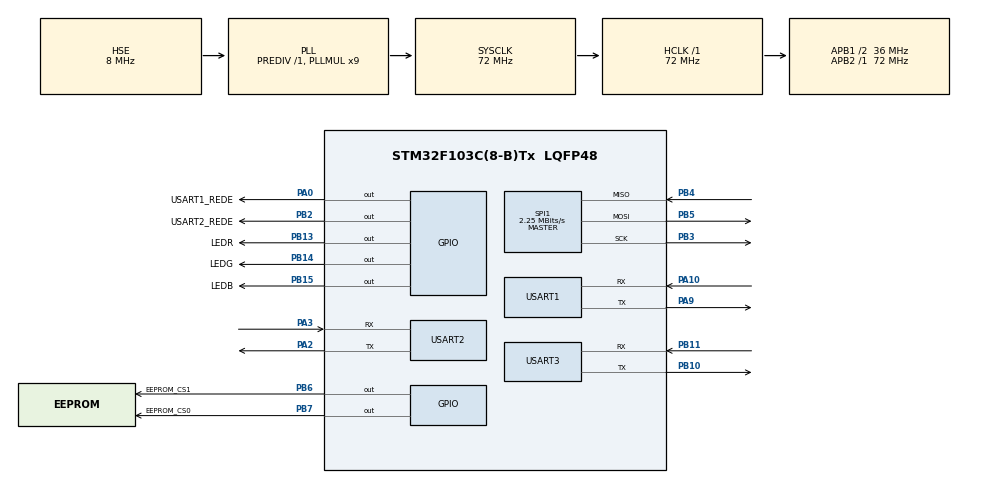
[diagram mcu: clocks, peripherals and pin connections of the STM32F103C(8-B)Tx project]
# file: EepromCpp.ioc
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Mcu.Family=STM32F1
Mcu.Name=STM32F103C(8-B)Tx
Mcu.Package=LQFP48
NVIC.FLASH_IRQn=true\:0\:0\:false\:false\:true\:true
NVIC.PVD_IRQn=true\:0\:0\:false\:false\:true\:true
NVIC.PriorityGroup=NVIC_PRIORITYGROUP_4
NVIC.RCC_IRQn=true\:0\:0\:false\:false\:true\:true
NVIC.SPI1_IRQn=true\:0\:0\:false\:true\:true\:16\:true
NVIC.TIM1_CC_IRQn=true\:0\:0\:false\:true\:true\:9\:true
NVIC.TIM1_UP_IRQn=true\:0\:0\:false\:true\:true\:11\:true
NVIC.TIM2_IRQn=true\:0\:0\:false\:true\:true\:8\:true
NVIC.TIM3_IRQn=true\:0\:0\:false\:true\:true\:7\:true
NVIC.TIM4_IRQn=true\:0\:0\:false\:true\:true\:6\:true
NVIC.USART1_IRQn=true\:0\:0\:false\:true\:true\:3\:true
NVIC.USART2_IRQn=true\:0\:0\:false\:true\:true\:2\:true
NVIC.USART3_IRQn=true\:0\:0\:false\:true\:true\:1\:true
PA0-WKUP.GPIO_Label=USART1_REDE
PA0-WKUP.Signal=GPIO_Output
PA10.Mode=Asynchronous
PA10.Signal=USART1_RX
PA13.Mode=Serial_Wire
PA13.Signal=SYS_JTMS-SWDIO
PA14.Mode=Serial_Wire
PA14.Signal=SYS_JTCK-SWCLK
PA2.Mode=Asynchronous
PA2.Signal=USART2_TX
PA3.Mode=Asynchronous
PA3.Signal=USART2_RX
PA9.Mode=Asynchronous
PA9.Signal=USART1_TX
PB10.Mode=Asynchronous
PB10.Signal=USART3_TX
PB11.Mode=Asynchronous
PB11.Signal=USART3_RX
PB13.GPIO_Label=LEDR
PB13.Signal=GPIO_Output
PB14.GPIO_Label=LEDG
PB14.Signal=GPIO_Output
PB15.GPIO_Label=LEDB
PB15.Signal=GPIO_Output
PB2.GPIO_Label=USART2_REDE
PB2.Signal=GPIO_Output
PB3.Mode=Full_Duplex_Master
PB3.Signal=SPI1_SCK
PB4.Mode=Full_Duplex_Master
PB4.Signal=SPI1_MISO
PB5.Mode=Full_Duplex_Master
PB5.Signal=SPI1_MOSI
PB6.GPIO_Label=EEPROM_CS1
PB6.Signal=GPIO_Output
PB7.GPIO_Label=EEPROM_CS0
PB7.Signal=GPIO_Output
PC14-OSC32_IN.Signal=RCC_OSC32_IN
PC15-OSC32_OUT.Signal=RCC_OSC32_OUT
PD0-OSC_IN.Mode=HSE-External-Oscillator
PD0-OSC_IN.Signal=RCC_OSC_IN
PD1-OSC_OUT.Mode=HSE-External-Oscillator
PD1-OSC_OUT.Signal=RCC_OSC_OUT
ProjectManager.HeapSize=0x200
ProjectManager.StackSize=0x400
ProjectManager.TargetToolchain=MDK-ARM V5
RCC.ADCPresc=RCC_ADCPCLK2_DIV6
RCC.AHBFreq_Value=72000000
RCC.APB1CLKDivider=RCC_HCLK_DIV2
RCC.APB1Freq_Value=36000000
RCC.APB1TimFreq_Value=72000000
RCC.APB2Freq_Value=72000000
RCC.APB2TimFreq_Value=72000000
RCC.HCLKFreq_Value=72000000
RCC.PLLMUL=RCC_PLL_MUL9
RCC.PLLSourceVirtual=RCC_PLLSOURCE_HSE
RCC.SYSCLKFreq_VALUE=72000000
RCC.SYSCLKSource=RCC_SYSCLKSOURCE_PLLCLK
RCC.USBFreq_Value=72000000
SPI1.BaudRatePrescaler=SPI_BAUDRATEPRESCALER_32
SPI1.CLKPhase=SPI_PHASE_2EDGE
SPI1.CLKPolarity=SPI_POLARITY_HIGH
SPI1.CalculateBaudRate=2.25 MBits/s
SPI1.Direction=SPI_DIRECTION_2LINES
SPI1.Mode=SPI_MODE_MASTER
SPI1.VirtualType=VM_MASTER
USART1.VirtualMode=VM_ASYNC
USART2.VirtualMode=VM_ASYNC
USART3.VirtualMode=VM_ASYNC
VP_TIM1_VS_ClockSourceINT.Mode=Internal
VP_TIM2_VS_ClockSourceINT.Mode=Internal
VP_TIM3_VS_ClockSourceINT.Mode=Internal
VP_TIM4_VS_ClockSourceINT.Mode=Internal
board=custom

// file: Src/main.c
/**
  ******************************************************************************
  * @file           : main.c
  * @brief          : Main program body
  ******************************************************************************
  ** This notice applies to any and all portions of this file
  * that are not between comment pairs USER CODE BEGIN and
  * USER CODE END. Other portions of this file, whether
  * inserted by the user or by software development tools
  * are owned by their respective copyright owners.
  *
  * COPYRIGHT(c) 2018 STMicroelectronics
  *
  * Redistribution and use in source and binary forms, with or without modification,
  * are permitted provided that the following conditions are met:
  *   1. Redistributions of source code must retain the above copyright notice,
  *      this list of conditions and the following disclaimer.
  *   2. Redistributions in binary form must reproduce the above copyright notice,
  *      this list of conditions and the following disclaimer in the documentation
  *      and/or other materials provided with the distribution.
  *   3. Neither the name of STMicroelectronics nor the names of its contributors
  *      may be used to endorse or promote products derived from this software
  *      without specific prior written permission.
  *
  * THIS SOFTWARE IS PROVIDED BY THE COPYRIGHT HOLDERS AND CONTRIBUTORS "AS IS"
  * AND ANY EXPRESS OR IMPLIED WARRANTIES, INCLUDING, BUT NOT LIMITED TO, THE
  * IMPLIED WARRANTIES OF MERCHANTABILITY AND FITNESS FOR A PARTICULAR PURPOSE ARE
  * DISCLAIMED. IN NO EVENT SHALL THE COPYRIGHT HOLDER OR CONTRIBUTORS BE LIABLE
  * FOR ANY DIRECT, INDIRECT, INCIDENTAL, SPECIAL, EXEMPLARY, OR CONSEQUENTIAL
  * DAMAGES (INCLUDING, BUT NOT LIMITED TO, PROCUREMENT OF SUBSTITUTE GOODS OR
  * SERVICES; LOSS OF USE, DATA, OR PROFITS; OR BUSINESS INTERRUPTION) HOWEVER
  * CAUSED AND ON ANY THEORY OF LIABILITY, WHETHER IN CONTRACT, STRICT LIABILITY,
  * OR TORT (INCLUDING NEGLIGENCE OR OTHERWISE) ARISING IN ANY WAY OUT OF THE USE
  * OF THIS SOFTWARE, EVEN IF ADVISED OF THE POSSIBILITY OF SUCH DAMAGE.
  *
  ******************************************************************************
  */
#include "main.h"
#include "stm32f1xx_hal.h"
#include "spi.h"
#include "tim.h"
#include "usart.h"
#include "gpio.h"

/* USER CODE BEGIN Includes */
#include "25LC512.h"
#include <stdlib.h>
#include <stdio.h>
#include <string>

/* USER CODE END Includes */

/* USER CODE BEGIN PV */
/* Private variables ---------------------------------------------------------*/

/* USER CODE END PV */

void SystemClock_Config(void);
static void MX_NVIC_Init(void);

/* USER CODE BEGIN PFP */
/* Private function prototypes -----------------------------------------------*/

/* USER CODE END PFP */

/* USER CODE BEGIN 0 */
	#define UNSIGNED_CHAR_FIRST_EEPROM_DATA_ADDRESS 0x0001
	#define UNSIGNED_CHAR_SECOND_EEPROM_DATA_ADDRESS 0x0100
	#define UNSIGNED_INT_FIRST_EEPROM_DATA_ADDRESS 0x00C9
	#define UNSIGNED_INT_SECOND_EEPROM_DATA_ADDRESS 0x10C9
	#define UNSIGNED_SHORT_FIRST_EEPROM_DATA_ADDRESS 0x0400
	#define UNSIGNED_SHORT_SECOND_EEPROM_DATA_ADDRESS 0x0500
	unsigned char glb_ucDataFromFirstEEProm[200];
	unsigned char glb_ucDataToFirstEEProm[200];
	unsigned char glb_ucDataFromSecondEEProm[200];
	unsigned char glb_ucDataToSecondEEProm[200];

	unsigned int glb_uiDataFromFirstEEProm[10];
	unsigned int glb_uiDataToFirstEEProm[10]={0x112345,0x212345,0x312345,0x412345,0x512345,0x612345,0x712345,0x812345,0x912345};
	unsigned int glb_uiDataFromSecondEEProm[10];
	unsigned int glb_uiDataToSecondEEProm[10]={0x123459,0x123458,0x123457,0x123456,0x123455,0x123454,0x123453,0x123452,0x123451};

	unsigned short glb_usDataFromFirstEEProm[10];
	unsigned short glb_usDataToFirstEEProm[10]={0x1123,0x2123,0x3123,0x4123,0x5123,0x6123,0x7123,0x8123,0x9123};
	unsigned short glb_usDataFromSecondEEProm[10];
	unsigned short glb_usDataToSecondEEProm[10]={0x3459,0x3458,0x3457,0x3456,0x3455,0x3454,0x3453,0x3452,0x3451};

/* USER CODE END 0 */

int main(void)
{

  /* MCU Configuration----------------------------------------------------------*/

  /* Reset of all peripherals, Initializes the Flash interface and the Systick. */
  HAL_Init();

  /* Configure the system clock */
  SystemClock_Config();

  /* Initialize all configured peripherals */
  MX_GPIO_Init();
  MX_USART3_UART_Init();
  MX_USART1_UART_Init();
  MX_USART2_UART_Init();
  MX_SPI1_Init();
  MX_TIM4_Init();
  MX_TIM3_Init();
  MX_TIM1_Init();
  MX_TIM2_Init();

  /* Initialize interrupts */
  MX_NVIC_Init();
  /* USER CODE BEGIN 2 */
	using namespace std;
	/// create eeprom objects
	EEPROM Eprom1(&hspi1,EEPROM_CS0_GPIO_Port,EEPROM_CS0_Pin);
	EEPROM Eprom2(&hspi1,EEPROM_CS1_GPIO_Port,EEPROM_CS1_Pin);

	Eprom1.MC25LC512_Initilize();// init eeprom
	Eprom2.MC25LC512_Initilize();// int eeprom2
	HAL_Delay(150);

	memcpy(glb_ucDataToFirstEEProm,(char*)"Cagri CANDAN 11/18/2018 First EEProm TEST",62);
	Eprom1.MC25LC512_Write((unsigned short)UNSIGNED_CHAR_FIRST_EEPROM_DATA_ADDRESS,glb_ucDataToFirstEEProm,62);
	Eprom1.MC25LC512_Read((unsigned short)UNSIGNED_CHAR_FIRST_EEPROM_DATA_ADDRESS,glb_ucDataFromFirstEEProm,62);

	Eprom1.MC25LC512_Write((unsigned short)UNSIGNED_INT_FIRST_EEPROM_DATA_ADDRESS,glb_uiDataToFirstEEProm,10);
	Eprom1.MC25LC512_Read((unsigned short)UNSIGNED_INT_FIRST_EEPROM_DATA_ADDRESS,glb_uiDataFromFirstEEProm,10);

	memcpy(glb_ucDataToSecondEEProm,(char*)"Cagri CANDAN 11/18/2018 Second EEProm TEST",63);
	Eprom2.MC25LC512_Write((unsigned short)UNSIGNED_CHAR_SECOND_EEPROM_DATA_ADDRESS,glb_ucDataToSecondEEProm,63);
	Eprom2.MC25LC512_Read((unsigned short)UNSIGNED_CHAR_SECOND_EEPROM_DATA_ADDRESS,glb_ucDataFromSecondEEProm,65);

	Eprom1.MC25LC512_Write((unsigned short)UNSIGNED_INT_FIRST_EEPROM_DATA_ADDRESS,glb_uiDataToFirstEEProm,10);
	Eprom1.MC25LC512_Read((unsigned short)UNSIGNED_INT_FIRST_EEPROM_DATA_ADDRESS,glb_uiDataFromFirstEEProm,10);

	Eprom2.MC25LC512_Write((unsigned short)UNSIGNED_INT_FIRST_EEPROM_DATA_ADDRESS,glb_uiDataToSecondEEProm,10);
	Eprom2.MC25LC512_Read((unsigned short)UNSIGNED_INT_FIRST_EEPROM_DATA_ADDRESS,glb_uiDataFromSecondEEProm,10);

	Eprom2.MC25LC512_Write((unsigned short)UNSIGNED_INT_FIRST_EEPROM_DATA_ADDRESS,glb_usDataToSecondEEProm,10);
	Eprom2.MC25LC512_Read((unsigned short)UNSIGNED_INT_FIRST_EEPROM_DATA_ADDRESS,glb_usDataFromSecondEEProm,10);

  /* USER CODE END 2 */

  /* Infinite loop */
  while (1)
  {

  }

}

void SystemClock_Config(void)
{

  RCC_OscInitTypeDef RCC_OscInitStruct;
  RCC_ClkInitTypeDef RCC_ClkInitStruct;

    /**Initializes the CPU, AHB and APB busses clocks
    */
  RCC_OscInitStruct.OscillatorType = RCC_OSCILLATORTYPE_HSE;
  RCC_OscInitStruct.HSEState = RCC_HSE_ON;
  RCC_OscInitStruct.HSEPredivValue = RCC_HSE_PREDIV_DIV1;
  RCC_OscInitStruct.HSIState = RCC_HSI_ON;
  RCC_OscInitStruct.PLL.PLLState = RCC_PLL_ON;
  RCC_OscInitStruct.PLL.PLLSource = RCC_PLLSOURCE_HSE;
  RCC_OscInitStruct.PLL.PLLMUL = RCC_PLL_MUL9;
  if (HAL_RCC_OscConfig(&RCC_OscInitStruct) != HAL_OK)
  {
    _Error_Handler(__FILE__, __LINE__);
  }

    /**Initializes the CPU, AHB and APB busses clocks
    */
  RCC_ClkInitStruct.ClockType = RCC_CLOCKTYPE_HCLK|RCC_CLOCKTYPE_SYSCLK
                              |RCC_CLOCKTYPE_PCLK1|RCC_CLOCKTYPE_PCLK2;
  RCC_ClkInitStruct.SYSCLKSource = RCC_SYSCLKSOURCE_PLLCLK;
  RCC_ClkInitStruct.AHBCLKDivider = RCC_SYSCLK_DIV1;
  RCC_ClkInitStruct.APB1CLKDivider = RCC_HCLK_DIV2;
  RCC_ClkInitStruct.APB2CLKDivider = RCC_HCLK_DIV1;

  if (HAL_RCC_ClockConfig(&RCC_ClkInitStruct, FLASH_LATENCY_2) != HAL_OK)
  {
    _Error_Handler(__FILE__, __LINE__);
  }

    /**Configure the Systick interrupt time
    */
  HAL_SYSTICK_Config(HAL_RCC_GetHCLKFreq()/1000);

    /**Configure the Systick
    */
  HAL_SYSTICK_CLKSourceConfig(SYSTICK_CLKSOURCE_HCLK);

  /* SysTick_IRQn interrupt configuration */
  HAL_NVIC_SetPriority(SysTick_IRQn, 0, 0);
}

/**
  * @brief NVIC Configuration.
  * @retval None
  */
static void MX_NVIC_Init(void)
{
  /* USART3_IRQn interrupt configuration */
  HAL_NVIC_SetPriority(USART3_IRQn, 0, 0);
  HAL_NVIC_EnableIRQ(USART3_IRQn);
  /* USART2_IRQn interrupt configuration */
  HAL_NVIC_SetPriority(USART2_IRQn, 0, 0);
  HAL_NVIC_EnableIRQ(USART2_IRQn);
  /* USART1_IRQn interrupt configuration */
  HAL_NVIC_SetPriority(USART1_IRQn, 0, 0);
  HAL_NVIC_EnableIRQ(USART1_IRQn);
  /* TIM4_IRQn interrupt configuration */
  HAL_NVIC_SetPriority(TIM4_IRQn, 0, 0);
  HAL_NVIC_EnableIRQ(TIM4_IRQn);
  /* TIM3_IRQn interrupt configuration */
  HAL_NVIC_SetPriority(TIM3_IRQn, 0, 0);
  HAL_NVIC_EnableIRQ(TIM3_IRQn);
  /* TIM2_IRQn interrupt configuration */
  HAL_NVIC_SetPriority(TIM2_IRQn, 0, 0);
  HAL_NVIC_EnableIRQ(TIM2_IRQn);
  /* TIM1_CC_IRQn interrupt configuration */
  HAL_NVIC_SetPriority(TIM1_CC_IRQn, 0, 0);
  HAL_NVIC_EnableIRQ(TIM1_CC_IRQn);
  /* TIM1_UP_IRQn interrupt configuration */
  HAL_NVIC_SetPriority(TIM1_UP_IRQn, 0, 0);
  HAL_NVIC_EnableIRQ(TIM1_UP_IRQn);
  /* SPI1_IRQn interrupt configuration */
  HAL_NVIC_SetPriority(SPI1_IRQn, 0, 0);
  HAL_NVIC_EnableIRQ(SPI1_IRQn);
}

void _Error_Handler(char *file, int line)
{
  while(1)
  {
  }
}

/************************ (C) COPYRIGHT STMicroelectronics *****END OF FILE****/
